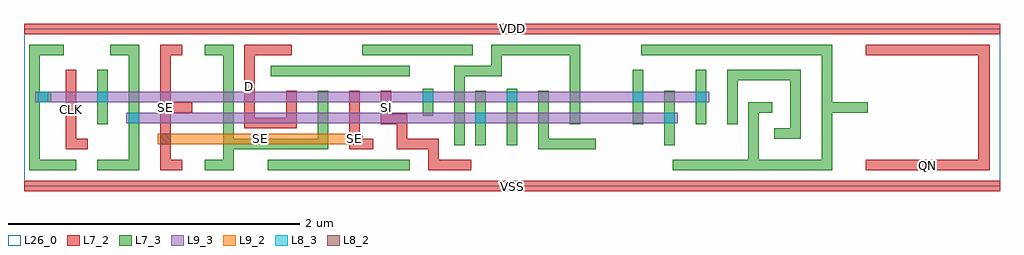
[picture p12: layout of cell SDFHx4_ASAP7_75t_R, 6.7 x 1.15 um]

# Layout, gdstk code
import gdstk
lib = gdstk.Library(unit=1e-6, precision=1e-09)
def R(c, l, rs):  # rectangles x0, y0, x1, y1
    for r in rs: c.add(gdstk.rectangle(r[:2], r[2:], *l))
L7_2 = (7, 2)
L7_3 = (7, 3)
L8_2 = (8, 2)
L8_3 = (8, 3)
L9_2 = (9, 2)
L9_3 = (9, 3)
L26_0 = (26, 0)

sdfhx4_asap7_75t_r = lib.new_cell('SDFHx4_ASAP7_75t_R')
R(sdfhx4_asap7_75t_r, L7_2, [(0,-0.036,6.696,0.036), (0.936,0.108,1.084,0.18), (0.936,0.108,1.008,0.972), (2.772,0.108,3.068,0.18), (2.772,0.108,2.844,0.324), (5.776,0.108,6.624,0.18), (6.548,0.108,6.624,0.972), (0.288,0.252,0.436,0.324), (0.288,0.252,0.36,0.8), (2.232,0.252,2.396,0.324), (2.232,0.252,2.304,0.656), (2.556,0.252,2.844,0.324), (2.556,0.252,2.628,0.496), (1.512,0.396,1.872,0.468), (1.512,0.396,1.584,0.972), (1.8,0.396,1.872,0.656), (2.448,0.424,2.628,0.496), (2.448,0.424,2.52,0.656), (0.936,0.504,1.156,0.576), (0.936,0.9,1.084,0.972), (1.512,0.9,1.836,0.972), (5.776,0.9,6.624,0.972), (0,1.044,6.696,1.116)])
R(sdfhx4_asap7_75t_r, L7_3, [(0.036,0.108,0.108,0.972), (0.036,0.108,0.36,0.18), (0.504,0.108,0.792,0.18), (0.72,0.108,0.792,0.972), (1.24,0.108,1.44,0.18), (1.368,0.108,1.44,0.972), (1.672,0.108,2.648,0.18), (4.452,0.108,5.544,0.18), (4.968,0.108,5.04,0.576), (5.472,0.108,5.544,0.972), (1.368,0.252,2.088,0.324), (2.016,0.252,2.088,0.656), (3.528,0.252,3.6,0.656), (3.528,0.252,3.924,0.324), (2.952,0.28,3.024,0.828), (3.096,0.28,3.168,0.656), (3.312,0.28,3.384,0.668), (4.392,0.28,4.464,0.656), (5.148,0.324,5.328,0.396), (5.256,0.324,5.328,0.8), (0.504,0.424,0.576,0.8), (3.744,0.424,3.816,0.972), (4.176,0.424,4.248,0.8), (4.608,0.424,4.68,0.8), (4.824,0.424,4.896,0.8), (2.736,0.484,2.808,0.668), (4.968,0.504,5.132,0.576), (5.472,0.504,5.788,0.576), (0.036,0.576,0.188,0.648), (4.824,0.728,5.328,0.8), (1.692,0.756,2.648,0.828), (2.952,0.756,3.276,0.828), (3.204,0.756,3.276,0.972), (0.036,0.9,0.272,0.972), (0.592,0.9,0.792,0.972), (1.24,0.9,1.44,0.972), (2.32,0.9,3.08,0.972), (3.204,0.9,3.816,0.972), (4.236,0.9,5.544,0.972)])
R(sdfhx4_asap7_75t_r, L8_2, [(0.936,0.288,1.008,0.36), (2.232,0.288,2.304,0.36)])
R(sdfhx4_asap7_75t_r, L8_3, [(0.72,0.432,0.792,0.504), (3.096,0.432,3.168,0.504), (4.392,0.432,4.464,0.504), (0.096,0.576,0.168,0.648), (0.504,0.576,0.576,0.648), (2.736,0.576,2.808,0.648), (3.312,0.576,3.384,0.648), (4.176,0.576,4.248,0.648), (4.608,0.576,4.68,0.648)])
R(sdfhx4_asap7_75t_r, L9_2, [(0.916,0.288,2.324,0.36)])
R(sdfhx4_asap7_75t_r, L9_3, [(0.7,0.432,4.484,0.504), (0.076,0.576,4.7,0.648)])
R(sdfhx4_asap7_75t_r, L26_0, [(0,0,6.696,1.08)])
sdfhx4_asap7_75t_r.add(gdstk.Label('CLK', (0.324,0.526), layer=7, texttype=1))
sdfhx4_asap7_75t_r.add(gdstk.Label('D', (1.548,0.684), layer=7, texttype=1))
sdfhx4_asap7_75t_r.add(gdstk.Label('QN', (6.2,0.144), layer=7, texttype=1))
sdfhx4_asap7_75t_r.add(gdstk.Label('SE', (0.972,0.54), layer=7, texttype=1))
sdfhx4_asap7_75t_r.add(gdstk.Label('SI', (2.484,0.54), layer=7, texttype=1))
sdfhx4_asap7_75t_r.add(gdstk.Label('VDD', (3.348,1.08), layer=7, texttype=1))
sdfhx4_asap7_75t_r.add(gdstk.Label('VSS', (3.348,0), layer=7, texttype=1))
sdfhx4_asap7_75t_r.add(gdstk.Label('SE', (1.62,0.324), layer=9, texttype=1))
sdfhx4_asap7_75t_r.add(gdstk.Label('SE', (2.268,0.324), layer=8, texttype=1))

lib.write_gds('SDFHx4_ASAP7_75t_R.gds')
